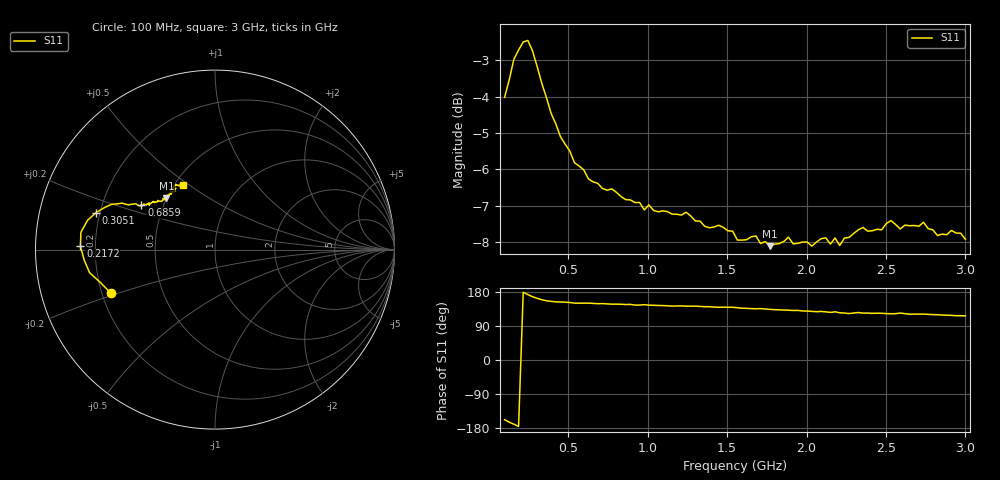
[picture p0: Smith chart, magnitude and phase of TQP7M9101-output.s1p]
#Hz S ri R 50
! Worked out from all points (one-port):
!   100 points, 100 MHz to 3 GHz, reference 50 ohm
!   lowest |S11| = -8.1 dB at 1.77 GHz (marker M1), VSWR 2.30, Z = 24.9 + j16.8 ohm
!   |S11| at or under -10 dB: nowhere
!   S11 on the Smith chart (normalised r, x): 100 MHz: 0.24, -0.19; 217.2 MHz: 0.14, +0.01; 305.1 MHz: 0.19, +0.15; 685.9 MHz: 0.38, +0.24; 3 GHz: 0.55, +0.47
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1e8  -0.5813 -0.2413
1.58586e8  -0.6984 -0.129
2.17172e8  -0.7496 0.0186
2.46465e8  -0.7472 0.0962
2.75758e8  -0.7102 0.1634
3.05051e8  -0.662 0.2064
3.63636e8  -0.5758 0.2521
4.22222e8  -0.5175 0.2589
4.80808e8  -0.4823 0.2494
5.39394e8  -0.4439 0.2554
6.85859e8  -0.4095 0.25
8.32323e8  -0.3862 0.2501
1.21313e9  -0.3453 0.2628
1.56465e9  -0.2979 0.2684
1.7697e9  -0.2712 0.2849
1.91616e9  -0.2584 0.3003
2.09192e9  -0.2486 0.3167
2.15051e9  -0.2304 0.322
2.1798e9  -0.2442 0.3214
2.20909e9  -0.224 0.3244
2.26768e9  -0.2176 0.3408
2.29697e9  -0.2285 0.3397
2.32626e9  -0.2388 0.3384
2.53131e9  -0.2266 0.3613
2.5899e9  -0.2312 0.345
2.64848e9  -0.2143 0.3607
2.73636e9  -0.2191 0.3632
3e9  -0.1798 0.3595
